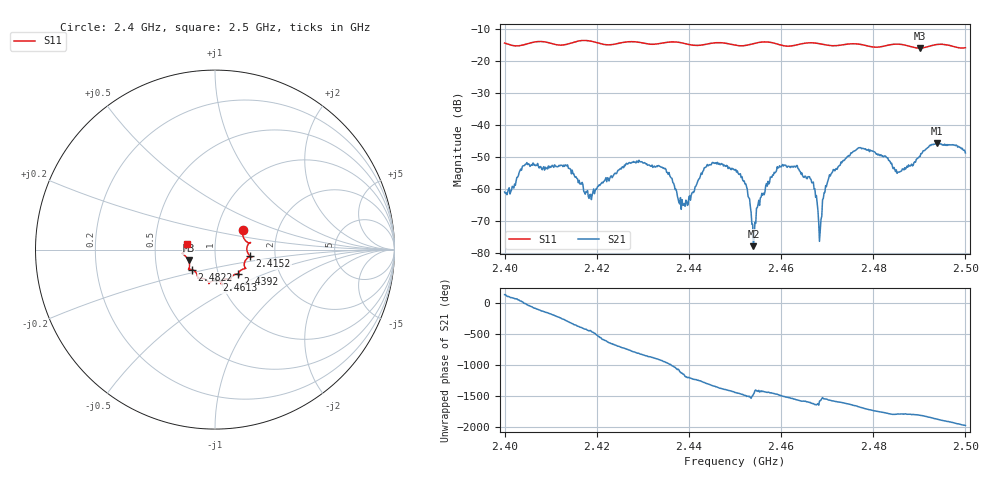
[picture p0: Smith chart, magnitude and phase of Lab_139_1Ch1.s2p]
# Hz S RI R 50
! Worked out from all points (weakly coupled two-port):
!   601 points, 2.4 GHz to 2.5 GHz, reference 50 ohm
!   highest |S21| = -45.69 dB at 2.4938 GHz (marker M1); lowest = -77.8 dB at 2.454 GHz (marker M2)
!   lowest |S11| = -15.9 dB at 2.4902 GHz (marker M3), VSWR 1.38, Z = 36.9 - j4.59 ohm
!   |S11| at or under -10 dB: start of sweep to end of sweep
!   S12 and S22 are empty: the file has one direction only
!   S11 on the Smith chart (normalised r, x): 2.4 GHz: 1.33, +0.31; 2.4152 GHz: 1.48, -0.11; 2.4392 GHz: 1.24, -0.35; 2.4613 GHz: 0.96, -0.34; 2.4822 GHz: 0.76, -0.17; 2.5 GHz: 0.73, +0.05
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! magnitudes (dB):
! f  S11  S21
! 2.4 GHz  -14.4  -60.9
! 2.4048 GHz  -14.6  -51.7
! 2.4152 GHz  -14.0  -55.9
! 2.4167 GHz  -13.6  -58.4
! 2.4187 GHz  -13.8  -61.6
! 2.4333 GHz  -14.6  -52.6
! 2.4392 GHz  -14.6  -65.3
! 2.4438 GHz  -14.7  -52.8
! 2.45 GHz  -15.0  -54.0
! 2.4525 GHz  -15.1  -59.2
! 2.454 GHz  -14.6  -77.8
! 2.4572 GHz  -14.1  -57.5
! 2.4613 GHz  -15.3  -53.2
! 2.4667 GHz  -14.3  -58.0
! 2.4683 GHz  -14.6  -76.3
! 2.4702 GHz  -15.1  -57.3
! 2.4735 GHz  -14.9  -51.0
! 2.4822 GHz  -15.4  -49.9
! 2.4833 GHz  -15.0  -51.0
! 2.4902 GHz  -15.9  -49.8
! 2.4938 GHz  -14.8  -45.7
! 2.5 GHz  -15.8  -48.7
